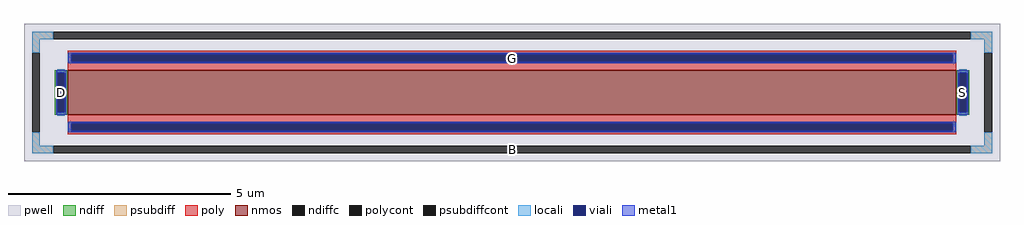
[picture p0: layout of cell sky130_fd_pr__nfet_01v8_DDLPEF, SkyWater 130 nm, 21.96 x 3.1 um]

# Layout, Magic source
magic
tech sky130A
magscale 1 2
<< pwell >>
rect -2196 -310 2196 310
<< nmos >>
rect -2000 -100 2000 100
<< ndiff >>
rect -2058 88 -2000 100
rect -2058 -88 -2046 88
rect -2012 -88 -2000 88
rect -2058 -100 -2000 -88
rect 2000 88 2058 100
rect 2000 -88 2012 88
rect 2046 -88 2058 88
rect 2000 -100 2058 -88
<< ndiffc >>
rect -2046 -88 -2012 88
rect 2012 -88 2046 88
<< psubdiff >>
rect -2160 240 -2064 274
rect 2064 240 2160 274
rect -2160 178 -2126 240
rect 2126 178 2160 240
rect -2160 -240 -2126 -178
rect 2126 -240 2160 -178
rect -2160 -274 -2064 -240
rect 2064 -274 2160 -240
<< psubdiffcont >>
rect -2064 240 2064 274
rect -2160 -178 -2126 178
rect 2126 -178 2160 178
rect -2064 -274 2064 -240
<< poly >>
rect -2000 172 2000 188
rect -2000 138 -1984 172
rect 1984 138 2000 172
rect -2000 100 2000 138
rect -2000 -138 2000 -100
rect -2000 -172 -1984 -138
rect 1984 -172 2000 -138
rect -2000 -188 2000 -172
<< polycont >>
rect -1984 138 1984 172
rect -1984 -172 1984 -138
<< locali >>
rect -2160 240 -2064 274
rect 2064 240 2160 274
rect -2160 178 -2126 240
rect 2126 178 2160 240
rect -2000 138 -1984 172
rect 1984 138 2000 172
rect -2046 88 -2012 104
rect -2046 -104 -2012 -88
rect 2012 88 2046 104
rect 2012 -104 2046 -88
rect -2000 -172 -1984 -138
rect 1984 -172 2000 -138
rect -2160 -240 -2126 -178
rect 2126 -240 2160 -178
rect -2160 -274 -2064 -240
rect 2064 -274 2160 -240
<< viali >>
rect -1984 138 1984 172
rect -2046 -88 -2012 88
rect 2012 -88 2046 88
rect -1984 -172 1984 -138
<< metal1 >>
rect -1996 172 1996 178
rect -1996 138 -1984 172
rect 1984 138 1996 172
rect -1996 132 1996 138
rect -2052 88 -2006 100
rect -2052 -88 -2046 88
rect -2012 -88 -2006 88
rect -2052 -100 -2006 -88
rect 2006 88 2052 100
rect 2006 -88 2012 88
rect 2046 -88 2052 88
rect 2006 -100 2052 -88
rect -1996 -138 1996 -132
rect -1996 -172 -1984 -138
rect 1984 -172 1996 -138
rect -1996 -178 1996 -172
<< labels >>
rlabel psubdiffcont 0 -257 0 -257 0 B
port 1 nsew
rlabel ndiffc -2029 0 -2029 0 0 D
port 2 nsew
rlabel ndiffc 2029 0 2029 0 0 S
port 3 nsew
rlabel polycont 0 155 0 155 0 G
port 4 nsew
<< properties >>
string FIXED_BBOX -2143 -257 2143 257
string gencell sky130_fd_pr__nfet_01v8
string library sky130
string parameters w 1.0 l 20.0 m 1 nf 1 diffcov 100 polycov 100 guard 1 glc 1 grc 1 gtc 1 gbc 1 tbcov 100 rlcov 100 topc 1 botc 1 poverlap 0 doverlap 1 lmin 0.15 wmin 0.42 class mosfet compatible {sky130_fd_pr__nfet_01v8 sky130_fd_pr__nfet_01v8_lvt  sky130_fd_bs_flash__special_sonosfet_star  sky130_fd_pr__nfet_g5v0d10v5 sky130_fd_pr__nfet_05v0_nvt  sky130_fd_pr__nfet_03v3_nvt} full_metal 1 conn_gates 0 viasrc 100 viadrn 100 viagate 100 viagb 0 viagr 0 viagl 0 viagt 0 doports 1
<< end >>
